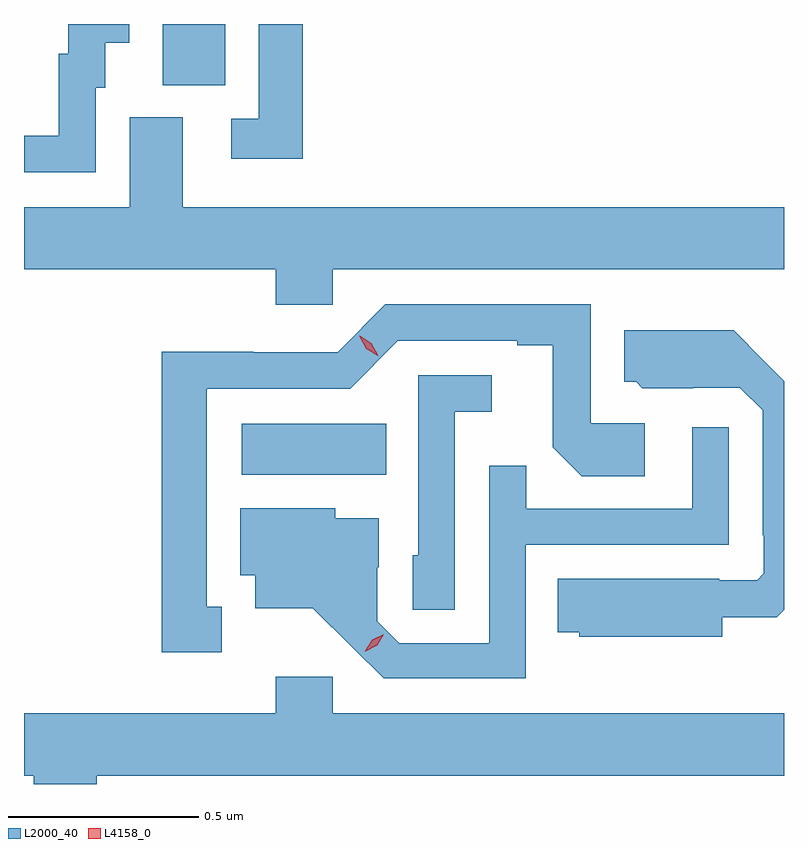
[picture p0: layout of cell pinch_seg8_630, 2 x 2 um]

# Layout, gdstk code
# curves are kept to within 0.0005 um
import gdstk
lib = gdstk.Library(unit=1e-6, precision=1e-09)
def R(c, l, rs):  # rectangles x0, y0, x1, y1
    for r in rs: c.add(gdstk.rectangle(r[:2], r[2:], *l))
def P(c, l, *ps):  # polygons
    for p in ps: c.add(gdstk.Polygon(p, *l))
L2000_40 = (2000, 40)
L4158_0 = (4158, 0)

pinch_seg8_630 = lib.new_cell('pinch_seg8_630')
R(pinch_seg8_630, L2000_40, [(138.93,1101.308,139.31,1101.442), (138.722,1102.333,138.886,1102.494)])
P(pinch_seg8_630, L2000_40, [(138.546,1102.326),(138.571,1102.326),(138.571,1102.445),(138.634,1102.445),(138.634,1102.494),(138.473,1102.494),(138.473,1102.416),(138.449,1102.416),(138.449,1102.2),(138.357,1102.2),(138.357,1102.104),(138.546,1102.104)],
  [(139.091,1102.494),(138.975,1102.494),(138.975,1102.245),(138.903,1102.245),(138.903,1102.14),(139.091,1102.14)],
  [(139.17,1101.848),(140.357,1101.848),(140.357,1102.012),(138.775,1102.012),(138.775,1102.248),(138.635,1102.248),(138.635,1102.012),(138.357,1102.012),(138.357,1101.848),(139.019,1101.848),(139.019,1101.755),(139.17,1101.755)],
  [(138.877,1100.961),(138.838,1100.961),(138.838,1101.534),(139.215,1101.534),(139.341,1101.66),(139.655,1101.66),(139.655,1101.648),(139.749,1101.648),(139.749,1101.38),(139.825,1101.304),(139.99,1101.304),(139.99,1101.444),(139.848,1101.444),(139.848,1101.756),(139.308,1101.756),(139.182,1101.63),(138.96,1101.63),(138.96,1101.632),(138.72,1101.632),(138.72,1100.841),(138.877,1100.841)],
  [(140.194,1100.933),(140.338,1100.933),(140.357,1100.952),(140.357,1101.554),(140.225,1101.688),(139.937,1101.688),(139.937,1101.552),(139.968,1101.552),(139.984,1101.536),(140.118,1101.536),(140.118,1101.537),(140.241,1101.537),(140.301,1101.477),(140.301,1101.148),(140.304,1101.148),(140.304,1101.048),(140.286,1101.03),(140.186,1101.03),(140.186,1101.034),(139.762,1101.034),(139.762,1100.894),(139.818,1100.894),(139.818,1100.882),(140.194,1100.882)],
  [(139.491,1101.473),(139.588,1101.473),(139.588,1101.57),(139.395,1101.57),(139.395,1101.096),(139.38,1101.096),(139.38,1100.953),(139.491,1100.953)],
  [(139.677,1101.123),(140.211,1101.123),(140.211,1101.433),(140.115,1101.433),(140.115,1101.219),(139.679,1101.219),(139.679,1101.332),(139.581,1101.332),(139.581,1100.865),(139.344,1100.865),(139.287,1100.922),(139.287,1101.064),(139.291,1101.064),(139.291,1101.193),(139.176,1101.193),(139.176,1101.22),(138.926,1101.22),(138.926,1101.044),(138.965,1101.044),(138.965,1100.957),(139.117,1100.957),(139.304,1100.772),(139.677,1100.772)],
  [(138.548,1100.516),(140.357,1100.516),(140.357,1100.68),(139.17,1100.68),(139.17,1100.776),(139.019,1100.776),(139.019,1100.68),(138.357,1100.68),(138.357,1100.516),(138.383,1100.516),(138.383,1100.494),(138.548,1100.494)])
P(pinch_seg8_630, L4158_0, [(139.255,1100.844),(139.255,1100.845),(139.273,1100.874),(139.304,1100.888),(139.304,1100.888),(139.304,1100.888),(139.286,1100.859),(139.256,1100.844)],
  [(139.288,1101.621),(139.257,1101.64),(139.239,1101.673),(139.239,1101.673),(139.24,1101.673),(139.271,1101.654),(139.289,1101.621),(139.289,1101.621)])

lib.write_gds('pinch_seg8_630.gds')
